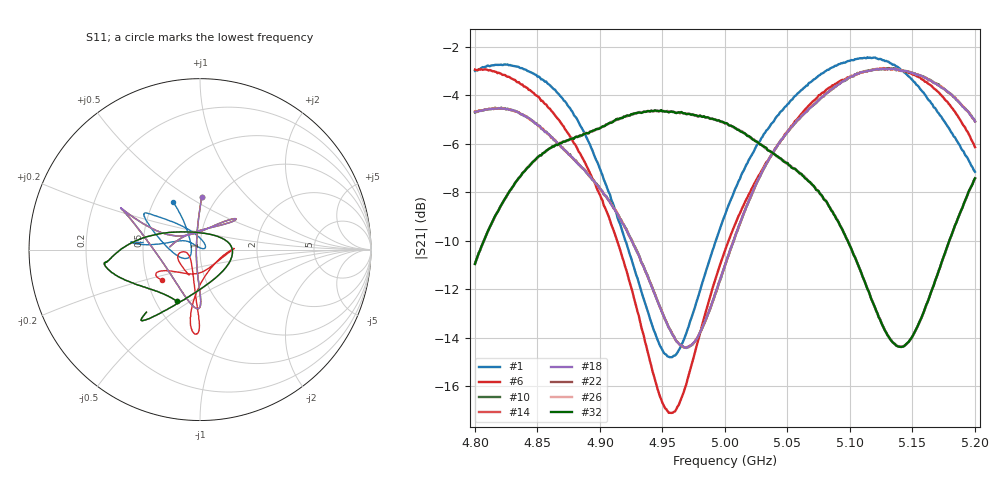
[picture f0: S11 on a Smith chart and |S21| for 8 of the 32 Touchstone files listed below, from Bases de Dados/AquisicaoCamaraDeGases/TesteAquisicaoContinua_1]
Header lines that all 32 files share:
! Network Analyzer HP8722D
! Hewlett-Packard
! Data name: Linha & Wilkinson
! Saver's name: Rodrigo Anjos
! Comments: Teste da utilização de aquisição
! continua pelo VNA HP8722D
!  Frequency  S11  S21  S12  S22
# HZ  S  MA R 50
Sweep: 4.8 GHz to 5.2 GHz
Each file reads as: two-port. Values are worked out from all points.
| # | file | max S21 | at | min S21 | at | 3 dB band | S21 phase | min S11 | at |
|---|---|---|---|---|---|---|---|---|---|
| 1 | teste_arseco&borbulhador_1.S2P | -2.44 dB | 5.114 GHz | -14.8 dB | 4.956 GHz | 5.034 GHz-5.179 GHz | 83 deg at 5 GHz | -40.5 dB | 5.079 GHz |
| 2 | teste_arseco&borbulhador_2.S2P | -2.45 dB | 5.118 GHz | -14.8 dB | 4.955 GHz | 5.033 GHz-5.18 GHz | 84 deg at 5 GHz | -40.2 dB | 5.079 GHz |
| 3 | teste_arseco&borbulhador_3.S2P | -2.46 dB | 5.115 GHz | -14.8 dB | 4.955 GHz | 5.034 GHz-5.18 GHz | 83 deg at 5 GHz | -40.3 dB | 5.078 GHz |
| 4 | teste_arseco&borbulhador_9.S2P | -2.88 dB | 5.131 GHz | -17.1 dB | 4.956 GHz | 5.045 GHz-5.197 GHz | -42 deg at 5 GHz | -22.8 dB | 5.136 GHz |
| 5 | teste_arseco&borbulhador_10.S2P | -2.88 dB | 5.131 GHz | -17.1 dB | 4.956 GHz | 5.045 GHz-5.197 GHz | -42 deg at 5 GHz | -22.8 dB | 5.136 GHz |
| 6 | teste_arseco&borbulhador_11.S2P | -2.89 dB | 5.127 GHz | -17.1 dB | 4.957 GHz | 5.045 GHz-5.197 GHz | -42 deg at 5 GHz | -22.8 dB | 5.135 GHz |
| 7 | teste_arseco&borbulhador_14.S2P | -2.91 dB | 5.135 GHz | -14.4 dB | 4.969 GHz | 5.045 GHz-5.2 GHz | -180 deg at 5 GHz | -33.4 dB | 4.835 GHz |
| 8 | teste_arseco&borbulhador_15.S2P | -2.91 dB | 5.135 GHz | -14.4 dB | 4.969 GHz | 5.045 GHz-5.2 GHz | -180 deg at 5 GHz | -33.4 dB | 4.834 GHz |
| 9 | teste_arseco&borbulhador_16.S2P | -2.91 dB | 5.131 GHz | -14.4 dB | 4.969 GHz | 5.045 GHz-5.2 GHz | -180 deg at 5 GHz | -33.4 dB | 4.834 GHz |
| 10 | teste_arseco&borbulhador_17.S2P | -2.90 dB | 5.135 GHz | -14.4 dB | 4.969 GHz | 5.045 GHz-5.2 GHz | -180 deg at 5 GHz | -33.3 dB | 4.834 GHz |
| 11 | teste_arseco&borbulhador_18.S2P | -2.90 dB | 5.124 GHz | -14.4 dB | 4.969 GHz | 5.045 GHz-5.2 GHz | -180 deg at 5 GHz | -33.3 dB | 4.834 GHz |
| 12 | teste_arseco&borbulhador_19.S2P | -2.91 dB | 5.131 GHz | -14.4 dB | 4.97 GHz | 5.045 GHz-5.2 GHz | -180 deg at 5 GHz | -33.3 dB | 4.834 GHz |
| 13 | teste_arseco&borbulhador_20.S2P | -2.91 dB | 5.131 GHz | -14.4 dB | 4.969 GHz | 5.045 GHz-5.2 GHz | -179 deg at 5 GHz | -33.2 dB | 4.834 GHz |
| 14 | teste_arseco&borbulhador_21.S2P | -2.90 dB | 5.124 GHz | -14.4 dB | 4.969 GHz | 5.045 GHz-5.2 GHz | -180 deg at 5 GHz | -33.2 dB | 4.834 GHz |
| 15 | teste_arseco&borbulhador_22.S2P | -2.91 dB | 5.13 GHz | -14.4 dB | 4.968 GHz | 5.045 GHz-5.2 GHz | -180 deg at 5 GHz | -33.2 dB | 4.834 GHz |
| 16 | teste_arseco&borbulhador_23.S2P | -2.90 dB | 5.131 GHz | -14.4 dB | 4.968 GHz | 5.045 GHz-5.2 GHz | -180 deg at 5 GHz | -33.2 dB | 4.834 GHz |
| 17 | teste_arseco&borbulhador_24.S2P | -2.89 dB | 5.131 GHz | -14.4 dB | 4.969 GHz | 5.045 GHz-5.2 GHz | -180 deg at 5 GHz | -33.2 dB | 4.834 GHz |
| 18 | teste_arseco&borbulhador_25.S2P | -2.90 dB | 5.136 GHz | -14.4 dB | 4.969 GHz | 5.045 GHz-5.2 GHz | -180 deg at 5 GHz | -33.1 dB | 4.834 GHz |
| 19 | teste_arseco&borbulhador_26.S2P | -2.92 dB | 5.125 GHz | -14.4 dB | 4.969 GHz | 5.044 GHz-5.2 GHz | -180 deg at 5 GHz | -33.2 dB | 4.834 GHz |
| 20 | teste_arseco&borbulhador_27.S2P | -4.63 dB | 4.949 GHz | -14.4 dB | 5.141 GHz | 4.832 GHz-5.068 GHz | -111 deg at 5 GHz | -20.2 dB | 5.007 GHz |
| 21 | teste_arseco&borbulhador_28.S2P | -4.63 dB | 4.944 GHz | -14.4 dB | 5.141 GHz | 4.833 GHz-5.069 GHz | -111 deg at 5 GHz | -20.2 dB | 5.007 GHz |
| 22 | teste_arseco&borbulhador_29.S2P | -4.63 dB | 4.944 GHz | -14.4 dB | 5.141 GHz | 4.832 GHz-5.069 GHz | -111 deg at 5 GHz | -20.2 dB | 5.007 GHz |
| 23 | teste_arseco&borbulhador_30.S2P | -4.64 dB | 4.947 GHz | -14.4 dB | 5.141 GHz | 4.833 GHz-5.068 GHz | -111 deg at 5 GHz | -20.2 dB | 5.007 GHz |
| 24 | teste_arseco&borbulhador_31.S2P | -4.64 dB | 4.949 GHz | -14.4 dB | 5.141 GHz | 4.832 GHz-5.068 GHz | -111 deg at 5 GHz | -20.2 dB | 5.007 GHz |
| 25 | teste_arseco&borbulhador_32.S2P | -4.63 dB | 4.944 GHz | -14.4 dB | 5.141 GHz | 4.833 GHz-5.068 GHz | -111 deg at 5 GHz | -20.2 dB | 5.007 GHz |
| 26 | teste_arseco&borbulhador_33.S2P | -4.65 dB | 4.949 GHz | -14.4 dB | 5.139 GHz | 4.832 GHz-5.068 GHz | -111 deg at 5 GHz | -20.2 dB | 5.007 GHz |
| 27 | teste_arseco&borbulhador_34.S2P | -4.64 dB | 4.942 GHz | -14.4 dB | 5.141 GHz | 4.832 GHz-5.068 GHz | -111 deg at 5 GHz | -20.2 dB | 5.008 GHz |
| 28 | teste_arseco&borbulhador_35.S2P | -4.64 dB | 4.949 GHz | -14.4 dB | 5.141 GHz | 4.832 GHz-5.068 GHz | -111 deg at 5 GHz | -20.2 dB | 5.007 GHz |
| 29 | teste_arseco&borbulhador_36.S2P | -4.63 dB | 4.945 GHz | -14.4 dB | 5.141 GHz | 4.833 GHz-5.068 GHz | -111 deg at 5 GHz | -20.2 dB | 5.007 GHz |
| 30 | teste_arseco&borbulhador_37.S2P | -4.62 dB | 4.944 GHz | -14.4 dB | 5.139 GHz | 4.833 GHz-5.068 GHz | -111 deg at 5 GHz | -20.2 dB | 5.007 GHz |
| 31 | teste_arseco&borbulhador_38.S2P | -4.63 dB | 4.946 GHz | -14.4 dB | 5.14 GHz | 4.833 GHz-5.068 GHz | -111 deg at 5 GHz | -20.2 dB | 5.007 GHz |
| 32 | teste_arseco&borbulhador_39.S2P | -4.62 dB | 4.949 GHz | -14.4 dB | 5.141 GHz | 4.833 GHz-5.068 GHz | -111 deg at 5 GHz | -20.2 dB | 5.007 GHz |
